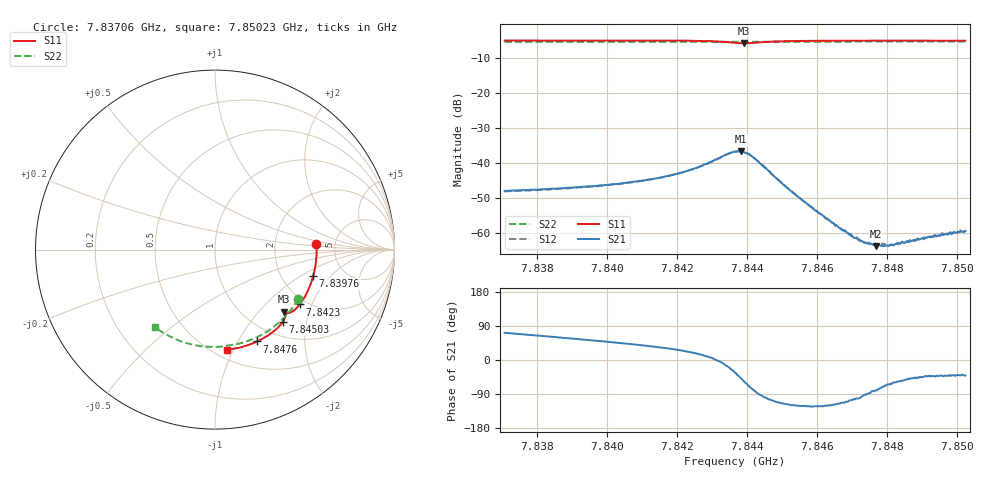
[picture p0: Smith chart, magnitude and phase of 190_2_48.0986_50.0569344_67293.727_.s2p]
#  HZ  S  RI  R  50.00
! Rohde & Schwarz Vector Network Analyzer
! Rohde-Schwarz,ZNB20-2Port,1311601062101988,3.16
! Created: UTC 12/23/2023, 3:53:40 AM
! freq[Hz]  re:S11  im:S11  re:S21  im:S21  re:S12  im:S12  re:S22  im:S22
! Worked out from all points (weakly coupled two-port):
!   401 points, 7.83706 GHz to 7.85023 GHz, reference 50 ohm
!   highest |S21| = -36.64 dB at 7.84381 GHz (marker M1); lowest = -63.9 dB at 7.84767 GHz (marker M2)
!   lowest |S11| = -5.7 dB at 7.84391 GHz (marker M3), VSWR 3.14, Z = 73.5 - j69.3 ohm
!   |S11| at or under -10 dB: nowhere
!   |S22| runs from -5.4 to -5.3 dB; largest |S21 - S12| = 0.00031
!   S11 on the Smith chart (normalised r, x): 7.83706 GHz: 3.58, +0.33; 7.83976 GHz: 3.00, -1.30; 7.8423 GHz: 1.84, -1.64; 7.84503 GHz: 1.26, -1.46; 7.8476 GHz: 0.81, -1.21; 7.85023 GHz: 0.58, -0.94
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7.837064e9  0.5653 0.0316  0.00123 0.00376  0.00124 0.0037  0.4649 -0.2739
7.83927e9  0.5552 -0.1147  0.00265 0.00365  0.00259 0.00359  0.3692 -0.3946
7.839764e9  0.5475 -0.147  0.00303 0.00362  0.003 0.00357  0.3431 -0.4176
7.841476e9  0.5045 -0.2557  0.00508 0.00336  0.00503 0.00341  0.2429 -0.4837
7.842299e9  0.4722 -0.3053  0.00714 0.00288  0.00708 0.0029  0.1898 -0.5067
7.843155e9  0.4227 -0.3494  0.0113 -0.000325  0.0115 -0.000199  0.1322 -0.524
7.843649e9  0.3881 -0.3522  0.012 -0.00795  0.0121 -0.0078  0.0992 -0.5299
7.843814e9  0.3836 -0.3472  0.00985 -0.0109  0.00978 -0.0108  0.0887 -0.5316
7.843912e9  0.3841 -0.3453  0.00775 -0.0118  0.00778 -0.0118  0.0825 -0.5327
7.844044e9  0.3868 -0.3455  0.00479 -0.0124  0.00494 -0.0123  0.0743 -0.5343
7.844242e9  0.3919 -0.3527  0.00121 -0.0112  0.00133 -0.0112  0.0614 -0.5369
7.845032e9  0.3764 -0.4047  -0.00206 -0.00442  -0.00207 -0.00444  0.00614 -0.5425
7.845855e9  0.3358 -0.448  -0.00123 -0.00192  -0.00118 -0.00195  -0.0519 -0.5411
7.846514e9  0.2993 -0.4755  -0.000589 -0.00115  -0.000581 -0.0011  -0.098 -0.5351
7.847041e9  0.2686 -0.4942  -0.000187 -0.000828  -0.000207 -0.000854  -0.1342 -0.5274
7.84737e9  0.2487 -0.5047  -2.16e-05 -0.000722  -5e-05 -0.000717  -0.1565 -0.5215
7.8476e9  0.2348 -0.5115  9.27e-05 -0.000655  8.13e-05 -0.000681  -0.172 -0.5168
7.847666e9  0.2308 -0.5135  0.000112 -0.000629  0.000134 -0.000686  -0.1763 -0.5152
7.848061e9  0.2063 -0.5237  0.000278 -0.000595  0.000259 -0.000603  -0.2025 -0.5061
7.849115e9  0.1393 -0.5452  0.000629 -0.000576  0.000628 -0.000565  -0.269 -0.4744
7.849411e9  0.1201 -0.5498  0.000662 -0.000581  0.000717 -0.000611  -0.2873 -0.464
7.850234e9  0.0661 -0.5586  0.000795 -0.000687  0.000797 -0.000715  -0.3348 -0.4314
